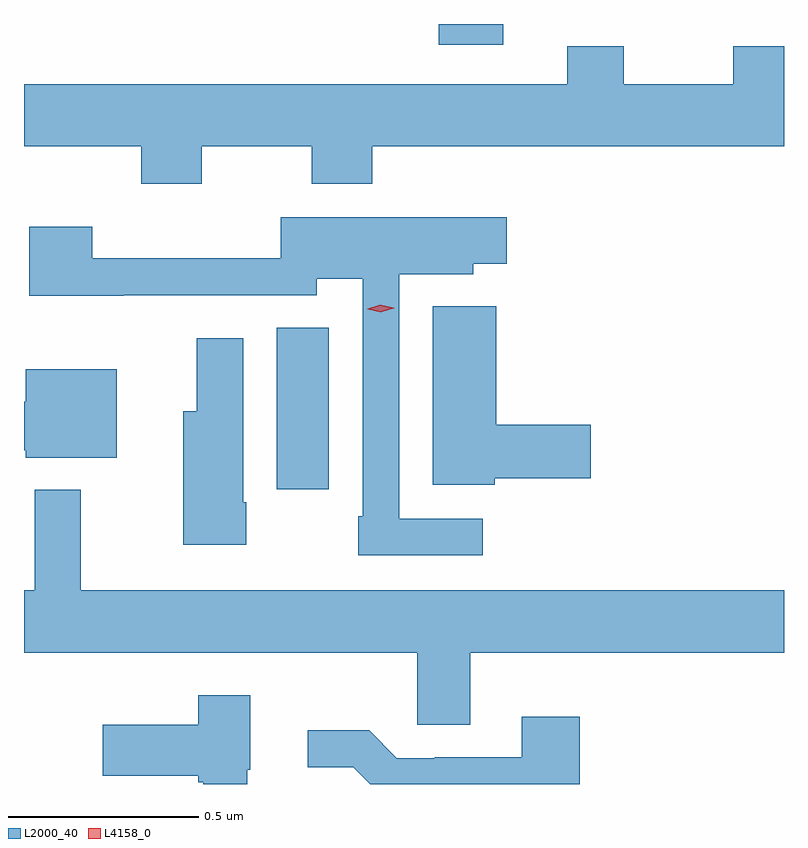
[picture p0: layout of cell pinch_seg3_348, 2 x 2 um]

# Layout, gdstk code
import gdstk
lib = gdstk.Library(unit=1e-6, precision=1e-09)
def R(c, l, rs):  # rectangles x0, y0, x1, y1
    for r in rs: c.add(gdstk.rectangle(r[:2], r[2:], *l))
def P(c, l, *ps):  # polygons
    for p in ps: c.add(gdstk.Polygon(p, *l))
L2000_40 = (2000, 40)
L4158_0 = (4158, 0)

pinch_seg3_348 = lib.new_cell('pinch_seg3_348')
R(pinch_seg3_348, L2000_40, [(985.196,719.994,985.333,720.419), (985.622,721.164,985.792,721.218)])
P(pinch_seg3_348, L2000_40, [(984.999,720.896),(985.288,720.896),(985.288,720.797),(985.448,720.797),(985.448,720.896),(986.531,720.896),(986.531,721.159),(986.398,721.159),(986.398,721.06),(986.109,721.06),(986.109,721.159),(985.961,721.159),(985.961,721.06),(984.531,721.06),(984.531,720.896),(984.839,720.896),(984.839,720.797),(984.999,720.797)],
  [(985.738,719.916),(985.518,719.916),(985.518,720.56),(985.713,720.56),(985.713,720.587),(985.801,720.587),(985.801,720.709),(985.206,720.709),(985.206,720.602),(984.71,720.602),(984.71,720.685),(984.545,720.685),(984.545,720.503),(984.793,720.503),(984.793,720.504),(985.302,720.504),(985.302,720.548),(985.422,720.548),(985.422,719.923),(985.41,719.923),(985.41,719.82),(985.738,719.82)],
  [(985.77,720.022),(986.023,720.022),(986.023,720.164),(985.774,720.164),(985.774,720.475),(985.607,720.475),(985.607,720.005),(985.77,720.005)],
  [(985.116,719.959),(985.108,719.959),(985.108,720.391),(984.986,720.391),(984.986,720.199),(984.95,720.199),(984.95,719.847),(985.116,719.847)],
  [(984.775,720.31),(984.536,720.31),(984.536,720.224),(984.531,720.224),(984.531,720.096),(984.536,720.096),(984.536,720.077),(984.775,720.077)],
  [(985.705,719.564),(986.531,719.564),(986.531,719.728),(984.68,719.728),(984.68,719.992),(984.559,719.992),(984.559,719.728),(984.531,719.728),(984.531,719.564),(985.566,719.564),(985.566,719.374),(985.705,719.374)],
  [(985.119,719.256),(985.126,719.256),(985.126,719.452),(984.99,719.452),(984.99,719.374),(984.738,719.374),(984.738,719.24),(984.99,719.24),(984.99,719.222),(985.003,719.222),(985.003,719.218),(985.119,719.218)],
  [(985.994,719.395),(985.841,719.395),(985.841,719.289),(985.612,719.289),(985.612,719.286),(985.512,719.286),(985.439,719.359),(985.278,719.359),(985.278,719.262),(985.398,719.262),(985.442,719.218),(985.994,719.218)])
P(pinch_seg3_348, L4158_0, [(985.47,720.46),(985.435,720.468),(985.435,720.468),(985.435,720.469),(985.469,720.479),(985.504,720.471),(985.505,720.47),(985.504,720.47)])

lib.write_gds('pinch_seg3_348.gds')
